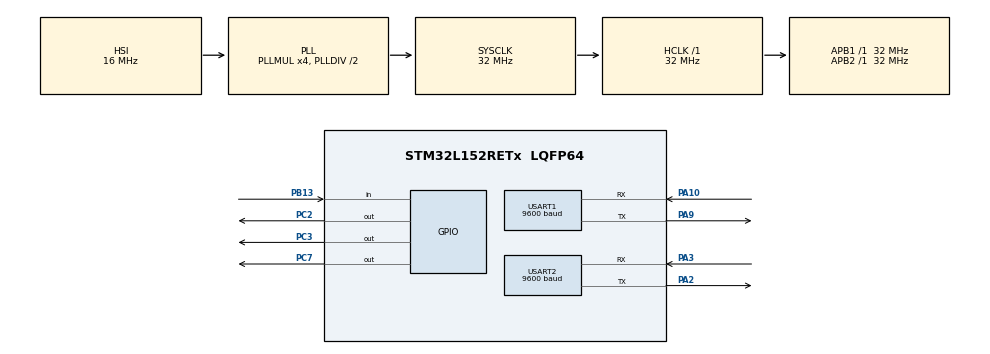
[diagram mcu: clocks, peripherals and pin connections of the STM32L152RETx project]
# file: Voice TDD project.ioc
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Mcu.Family=STM32L1
RCC.MSI_VALUE=2097000
FREERTOS.Tasks01=defaultTask,0,128,StartDefaultTask,Default,NULL,Dynamic,NULL,NULL
PA10.Mode=Asynchronous
USART1.BaudRate=9600
TIM6.Prescaler=19
PC2.Signal=GPIO_Output
VP_TIM6_VS_ClockSourceINT.Mode=Enable_Timer
PC2.GPIO_Speed=GPIO_SPEED_FREQ_VERY_HIGH
PB13.Signal=GPIO_Input
USART2.BaudRate=9600
PC3.GPIO_Speed=GPIO_SPEED_FREQ_VERY_HIGH
RCC.SYSCLKSource=RCC_SYSCLKSOURCE_PLLCLK
ProjectManager.StackSize=0x400
PC3.PinState=GPIO_PIN_SET
NVIC.TIM6_IRQn=true\:10\:0\:true\:false\:true\:true\:true\:true
PA3.Mode=Asynchronous
PA9.Mode=Asynchronous
VP_SYS_VS_tim3.Mode=TIM3
ProjectManager.TargetToolchain=STM32CubeIDE
RCC.HCLKFreq_Value=32000000
RCC.APB2TimFreq_Value=32000000
PA9.Signal=USART1_TX
PC7.Signal=GPIO_Output
PC3.Signal=GPIO_Output
PC7.GPIO_PuPd=GPIO_PULLDOWN
RCC.LSE_VALUE=32768
RCC.AHBFreq_Value=32000000
RCC.HSE_VALUE=24000000
FREERTOS.configUSE_TIMERS=1
board=custom
PC7.GPIO_Speed=GPIO_SPEED_FREQ_VERY_HIGH
RCC.VCOOutputFreq_Value=64000000
RCC.PLLMUL=RCC_PLL_MUL4
NVIC.TIM3_IRQn=true\:0\:0\:false\:false\:true\:false\:false\:true
PB13.GPIO_PuPd=GPIO_PULLDOWN
RCC.APB2Freq_Value=32000000
PC7.PinState=GPIO_PIN_SET
TIM6.TIM_MasterOutputTrigger=TIM_TRGO_RESET
PC2.GPIO_PuPd=GPIO_PULLDOWN
TIM6.Period=31999
VP_FREERTOS_VS_CMSIS_V1.Mode=CMSIS_V1
Mcu.Name=STM32L152RETx
PA2.Signal=USART2_TX
RCC.48MHZClocksFreq_Value=32000000
RCC.SYSCLKFreq_VALUE=32000000
Mcu.Package=LQFP64
NVIC.TimeBase=TIM3_IRQn
PC2.PinState=GPIO_PIN_SET
USART2.VirtualMode=VM_ASYNC
USART1.VirtualMode=VM_ASYNC
NVIC.TimeBaseIP=TIM3
PA10.Signal=USART1_RX
ProjectManager.HeapSize=0x200
RCC.HSI_VALUE=16000000
NVIC.PriorityGroup=NVIC_PRIORITYGROUP_4
RCC.APB1TimFreq_Value=32000000
PA2.Mode=Asynchronous
RCC.APB1Freq_Value=32000000
PC3.GPIO_PuPd=GPIO_PULLDOWN
PA3.Signal=USART2_RX

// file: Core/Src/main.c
/* USER CODE BEGIN Header */
/**
  ******************************************************************************
  * @file           : main.c
  * @brief          : Main program body
  ******************************************************************************
  * @attention
  *
  * <h2><center>&copy; Copyright (c) 2022 STMicroelectronics.
  * All rights reserved.</center></h2>
  *
  * This software component is licensed by ST under BSD 3-Clause license,
  * the "License"; You may not use this file except in compliance with the
  * License. You may obtain a copy of the License at:
  *                        opensource.org/licenses/BSD-3-Clause
  *
  ******************************************************************************
  */
#ifndef TEST
/* USER CODE END Header */
#include "main.h"
#include "cmsis_os.h"

/* USER CODE BEGIN Includes */

#else
#include "unity.h"
#include "mock_main.h"
#include "TestableMain.h"
#endif

#include "LED.h"
#include "LEDTask.h"
#include "VoiceTask.h"
#include "Utils.h"
#include <stdbool.h>

/* USER CODE END Includes */

#ifndef TEST
TIM_HandleTypeDef htim6;

UART_HandleTypeDef huart1;
UART_HandleTypeDef huart2;

osThreadId defaultTaskHandle;
#endif
/* USER CODE BEGIN PV */
TaskHandle_t xHandle_LED;
TaskHandle_t xHandle_LEDToggle;
TaskHandle_t xHandle_VoiceTask;
static BaseType_t checkIfYieldRequired=pdFALSE;

uint8_t UART1_RxBuf[40];
uint8_t MainBuf[40];

/* USER CODE END PV */

void SystemClock_Config(void);
static void MX_GPIO_Init(void);
static void MX_USART2_UART_Init(void);
static void MX_USART1_UART_Init(void);
static void MX_TIM6_Init(void);
void StartDefaultTask(void const * argument);

/* USER CODE BEGIN 0 */
#ifdef TEST
void TestableMain(void)
#else
/* USER CODE END 0 */

int main(void)
  /* USER CODE BEGIN 1 */
#endif
{
  /* USER CODE END 1 */

  /* MCU Configuration--------------------------------------------------------*/

  /* Reset of all peripherals, Initializes the Flash interface and the Systick. */
  HAL_Init();

  /* Configure the system clock */
  SystemClock_Config();

  /* Initialize all configured peripherals */
  MX_GPIO_Init();
  MX_USART2_UART_Init();
  MX_USART1_UART_Init();
  MX_TIM6_Init();
  /* USER CODE BEGIN 2 */
  //HAL_TIM_Base_Start(&htim6);
  HAL_TIM_Base_Start_IT(&htim6);

  /* USER CODE END 2 */

  /* Create the thread(s) */
  /* definition and creation of defaultTask */
  //osThreadDef(defaultTask, StartDefaultTask, osPriorityNormal, 0, 128);
  //defaultTaskHandle = osThreadCreate(osThread(defaultTask), NULL);

  /* Start scheduler */
  //osKernelStart();

  /* We should never get here as control is now taken by the scheduler */
  /* Infinite loop */
  /* USER CODE BEGIN WHILE */
  LED_Init();

  Power_On(); // Power on the SIM808 shield

  if( xTaskCreate(prvLEDTask, "LEDTask", configMINIMAL_STACK_SIZE, /*(void *)&LEDParam*/NULL, tskIDLE_PRIORITY, &xHandle_LED) != pdPASS){
  	  HAL_UART_Transmit(&huart2, "LEDTask creating ERROR !!!\r\n", 32, 100 );
  }

  if( xTaskCreate(prvLEDToggleTask, "LEDToggleTask", configMINIMAL_STACK_SIZE, /*(void *)&LEDParam*/NULL, tskIDLE_PRIORITY, &xHandle_LEDToggle) != pdPASS){
      HAL_UART_Transmit(&huart2, "LEDToggleTask creating ERROR !!!\r\n", 32, 100 );
  }

  if( xTaskCreate(prvVoiceTask, "VoiceTask", configMINIMAL_STACK_SIZE, /*(void *)&LEDParam*/NULL, tskIDLE_PRIORITY, &xHandle_VoiceTask) != pdPASS){
        HAL_UART_Transmit(&huart2, "VoiceTask creating ERROR !!!\r\n", 31, 100 );
  }

  /*if( xTaskCreate(prvVoiceTaskStopRecord, "VoiceTaskStopREcord", configMINIMAL_STACK_SIZE, //(void *)&LEDParamNULL, tskIDLE_PRIORITY, &xHandle_VoiceStopRecord) != pdPASS){
          HAL_UART_Transmit(&huart2, "VoiceTaskStopRecord creating ERROR !!!\r\n", 42, 100 );
  }

  if( xTaskCreate(prvVoiceTaskStartPlay, "VoiceTaskStartPlay", configMINIMAL_STACK_SIZE, //(void *)&LEDParamNULL, tskIDLE_PRIORITY, &xHandle_VoiceStartPlay) != pdPASS){
          HAL_UART_Transmit(&huart2, "VoiceTaskStartRecord creating ERROR !!!\r\n", 42, 100 );
  }

    if( xTaskCreate(prvVoiceTaskStopRecord, "VoiceTaskStopPlay", configMINIMAL_STACK_SIZE, //(void *)&LEDParamNULL, tskIDLE_PRIORITY, &xHandle_VoiceStopPlay) != pdPASS){
            HAL_UART_Transmit(&huart2, "VoiceTaskStopRecord creating ERROR !!!\r\n", 42, 100 );
    }*/

  vTaskStartScheduler();

  while (1)
  {
    /* USER CODE END WHILE */

    /* USER CODE BEGIN 3 */
  }
//#endif
  /* USER CODE END 3 */
}

void SystemClock_Config(void)
{
  RCC_OscInitTypeDef RCC_OscInitStruct = {0};
  RCC_ClkInitTypeDef RCC_ClkInitStruct = {0};

  /** Configure the main internal regulator output voltage
  */
  __HAL_PWR_VOLTAGESCALING_CONFIG(PWR_REGULATOR_VOLTAGE_SCALE1);
  /** Initializes the RCC Oscillators according to the specified parameters
  * in the RCC_OscInitTypeDef structure.
  */
  RCC_OscInitStruct.OscillatorType = RCC_OSCILLATORTYPE_HSI;
  RCC_OscInitStruct.HSIState = RCC_HSI_ON;
  RCC_OscInitStruct.HSICalibrationValue = RCC_HSICALIBRATION_DEFAULT;
  RCC_OscInitStruct.PLL.PLLState = RCC_PLL_ON;
  RCC_OscInitStruct.PLL.PLLSource = RCC_PLLSOURCE_HSI;
  RCC_OscInitStruct.PLL.PLLMUL = RCC_PLL_MUL4;
  RCC_OscInitStruct.PLL.PLLDIV = RCC_PLL_DIV2;
  if (HAL_RCC_OscConfig(&RCC_OscInitStruct) != HAL_OK)
  {
    Error_Handler();
  }
  /** Initializes the CPU, AHB and APB buses clocks
  */
  RCC_ClkInitStruct.ClockType = RCC_CLOCKTYPE_HCLK|RCC_CLOCKTYPE_SYSCLK
                              |RCC_CLOCKTYPE_PCLK1|RCC_CLOCKTYPE_PCLK2;
  RCC_ClkInitStruct.SYSCLKSource = RCC_SYSCLKSOURCE_PLLCLK;
  RCC_ClkInitStruct.AHBCLKDivider = RCC_SYSCLK_DIV1;
  RCC_ClkInitStruct.APB1CLKDivider = RCC_HCLK_DIV1;
  RCC_ClkInitStruct.APB2CLKDivider = RCC_HCLK_DIV1;

  if (HAL_RCC_ClockConfig(&RCC_ClkInitStruct, FLASH_LATENCY_1) != HAL_OK)
  {
    Error_Handler();
  }
}

static void MX_TIM6_Init(void)
{

  TIM_MasterConfigTypeDef sMasterConfig = {0};

  htim6.Instance = TIM6;
  htim6.Init.Prescaler = 19;
  htim6.Init.CounterMode = TIM_COUNTERMODE_UP;
  htim6.Init.Period = 31999;
  htim6.Init.AutoReloadPreload = TIM_AUTORELOAD_PRELOAD_DISABLE;
  if (HAL_TIM_Base_Init(&htim6) != HAL_OK)
  {
    Error_Handler();
  }
  sMasterConfig.MasterOutputTrigger = TIM_TRGO_RESET;
  sMasterConfig.MasterSlaveMode = TIM_MASTERSLAVEMODE_DISABLE;
  if (HAL_TIMEx_MasterConfigSynchronization(&htim6, &sMasterConfig) != HAL_OK)
  {
    Error_Handler();
  }

}

static void MX_USART1_UART_Init(void)
{

  huart1.Instance = USART1;
  huart1.Init.BaudRate = 9600;
  huart1.Init.WordLength = UART_WORDLENGTH_8B;
  huart1.Init.StopBits = UART_STOPBITS_1;
  huart1.Init.Parity = UART_PARITY_NONE;
  huart1.Init.Mode = UART_MODE_TX_RX;
  huart1.Init.HwFlowCtl = UART_HWCONTROL_NONE;
  huart1.Init.OverSampling = UART_OVERSAMPLING_16;
  if (HAL_UART_Init(&huart1) != HAL_OK)
  {
    Error_Handler();
  }

}

static void MX_USART2_UART_Init(void)
{

  huart2.Instance = USART2;
  huart2.Init.BaudRate = 9600;
  huart2.Init.WordLength = UART_WORDLENGTH_8B;
  huart2.Init.StopBits = UART_STOPBITS_1;
  huart2.Init.Parity = UART_PARITY_NONE;
  huart2.Init.Mode = UART_MODE_TX_RX;
  huart2.Init.HwFlowCtl = UART_HWCONTROL_NONE;
  huart2.Init.OverSampling = UART_OVERSAMPLING_16;
  if (HAL_UART_Init(&huart2) != HAL_OK)
  {
    Error_Handler();
  }

}

static void MX_GPIO_Init(void)
{
  GPIO_InitTypeDef GPIO_InitStruct = {0};

  /* GPIO Ports Clock Enable */
  __HAL_RCC_GPIOC_CLK_ENABLE();
  __HAL_RCC_GPIOA_CLK_ENABLE();
  __HAL_RCC_GPIOB_CLK_ENABLE();

  /*Configure GPIO pin Output Level */
  HAL_GPIO_WritePin(GPIOC, GPIO_PIN_2|GPIO_PIN_3|GPIO_PIN_7, GPIO_PIN_SET);

  /*Configure GPIO pins : PC2 PC3 PC7 */
  GPIO_InitStruct.Pin = GPIO_PIN_2|GPIO_PIN_3|GPIO_PIN_7;
  GPIO_InitStruct.Mode = GPIO_MODE_OUTPUT_PP;
  GPIO_InitStruct.Pull = GPIO_PULLDOWN;
  GPIO_InitStruct.Speed = GPIO_SPEED_FREQ_VERY_HIGH;
  HAL_GPIO_Init(GPIOC, &GPIO_InitStruct);

  /*Configure GPIO pin : PB13 */
  GPIO_InitStruct.Pin = GPIO_PIN_13;
  GPIO_InitStruct.Mode = GPIO_MODE_INPUT;
  GPIO_InitStruct.Pull = GPIO_PULLDOWN;
  HAL_GPIO_Init(GPIOB, &GPIO_InitStruct);

}

/* USER CODE BEGIN 4 */

/*static uint8_t oldPos=0, newPos=0;

void HAL_UARTEx_RxEventCallback(UART_HandleTypeDef *huart, uint16_t Size)
{

	if (huart->Instance == USART1)
	{

		memset(MainBuf,'\0',40);
		memcpy ((uint8_t *)MainBuf, UART1_RxBuf, Size);
		memset(UART1_RxBuf,'\0',40);
		/*uint8_t MainBuf_SIZE=sizeof(MainBuf);
		oldPos = newPos;  // Update the last position before copying new data

		// If the data in large and it is about to exceed the buffer size, we have to route it to the start of the buffer
		// This is to maintain the circular buffer
		// The old data in the main buffer will be overlapped

		if (oldPos+(uint8_t)Size > MainBuf_SIZE)  // If the current position + new data size is greater than the main buffer
		{
			uint8_t datatocopy = MainBuf_SIZE-oldPos;  // find out how much space is left in the main buffer
			memcpy ((uint8_t *)MainBuf+oldPos, UART1_RxBuf, datatocopy);  // copy data in that remaining space

			oldPos = 0;  // point to the start of the buffer
			memcpy ((uint8_t *)MainBuf, (uint8_t *)UART1_RxBuf+datatocopy, (Size-datatocopy));  // copy the remaining data
			newPos = (Size-datatocopy);
		}

		// if the current position + new data size is less than the main buffer
		// we will simply copy the data into the buffer and update the position

		else
		{
			memcpy ((uint8_t *)MainBuf+oldPos, UART1_RxBuf, Size);
			newPos = Size+oldPos;
		}

		// start the DMA again
		HAL_UARTEx_ReceiveToIdle_DMA(&huart2, (uint8_t *) UART1_RxBuf, sizeof(UART1_RxBuf));
		__HAL_DMA_DISABLE_IT(&hdma_usart1_rx, DMA_IT_HT);
	}
}*/

//extern TaskHandle_t xHandle_LED;
//static uint32_t PrevTick, Tick, PressCount=0;
//static GPIO_PinState ButtonState=GPIO_PIN_RESET;
//static BaseType_t checkIfYieldRequired=pdFALSE;

/*void HAL_GPIO_EXTI_Callback(uint16_t GPIO_Pin)
{
	if(GPIO_Pin==GPIO_PIN_13){
		if(PressCount==0) PrevTick=HAL_GetTick();

		if(PressCount==1 && (HAL_GetTick()-PrevTick)>=0){
			checkIfYieldRequired=xTaskResumeFromISR(xHandle_LED);
			portYIELD_FROM_ISR(checkIfYieldRequired);

			PressCount=0;
			PrevTick=HAL_GetTick();
		}
		PressCount++;
	}*/

	/*HAL_UART_Transmit(&huart2,"I'm in EXTI Callback !!!\r\n",27,100);
	if(GPIO_Pin==GPIO_PIN_13){
		if(PrevTimer==0 && ButtonState==GPIO_PIN_RESET){
			PrevTimer=Timer=HAL_GetTick();
			ButtonState=GPIO_PIN_SET;
		}

		Timer=HAL_GetTick();

		if((Timer-PrevTimer)>=135 && ButtonState==GPIO_PIN_SET ){
			HAL_UART_Transmit(&huart2,"EXTI Callback : Timer=135 !!!\r\n",32,100);
			checkIfYieldRequired=xTaskResumeFromISR(xHandle_LED);
			portYIELD_FROM_ISR(checkIfYieldRequired);

			PrevTimer=Timer=0;
			ButtonState=GPIO_PIN_RESET;
		}
	}*/
//}

static GPIO_PinState ButtonStatus, PrevButtonStatus=GPIO_PIN_RESET;

GPIO_PinState GetButtonStatus(void)
{

	ButtonStatus=HAL_GPIO_ReadPin(GPIOB,GPIO_PIN_13);

	if(PrevButtonStatus!=ButtonStatus) PrevButtonStatus=ButtonStatus;
	else return ButtonStatus;

	return HAL_OK;
}

/* USER CODE END 4 */

void StartDefaultTask(void const * argument)
{
  for(;;)
  {
    osDelay(1);
  }
}

void HAL_TIM_PeriodElapsedCallback(TIM_HandleTypeDef *htim)
{
  if (htim->Instance == TIM3) {
    HAL_IncTick();
  }
}

void Error_Handler(void)
{
  /* USER CODE BEGIN Error_Handler_Debug */
  /* User can add his own implementation to report the HAL error return state */
	//HAL_UART_Transmit(&huart2,"I'm in Error_Handler() !!!\r\n",30,100);
  /* USER CODE END Error_Handler_Debug */
}

/************************ (C) COPYRIGHT STMicroelectronics *****END OF FILE****/
